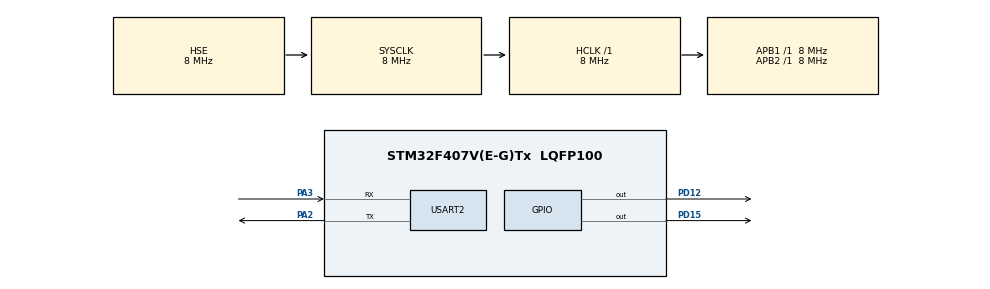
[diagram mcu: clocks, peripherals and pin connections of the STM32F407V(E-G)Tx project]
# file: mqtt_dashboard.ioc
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Dma.Request0=USART2_RX
Dma.Request1=USART2_TX
Dma.USART2_RX.0.Direction=DMA_PERIPH_TO_MEMORY
Dma.USART2_RX.0.FIFOMode=DMA_FIFOMODE_DISABLE
Dma.USART2_RX.0.Instance=DMA1_Stream5
Dma.USART2_RX.0.MemDataAlignment=DMA_MDATAALIGN_BYTE
Dma.USART2_RX.0.MemInc=DMA_MINC_ENABLE
Dma.USART2_RX.0.Mode=DMA_CIRCULAR
Dma.USART2_RX.0.PeriphDataAlignment=DMA_PDATAALIGN_BYTE
Dma.USART2_RX.0.PeriphInc=DMA_PINC_DISABLE
Dma.USART2_RX.0.Priority=DMA_PRIORITY_LOW
Dma.USART2_TX.1.Direction=DMA_MEMORY_TO_PERIPH
Dma.USART2_TX.1.FIFOMode=DMA_FIFOMODE_DISABLE
Dma.USART2_TX.1.Instance=DMA1_Stream6
Dma.USART2_TX.1.MemDataAlignment=DMA_MDATAALIGN_BYTE
Dma.USART2_TX.1.MemInc=DMA_MINC_ENABLE
Dma.USART2_TX.1.Mode=DMA_NORMAL
Dma.USART2_TX.1.PeriphDataAlignment=DMA_PDATAALIGN_BYTE
Dma.USART2_TX.1.PeriphInc=DMA_PINC_DISABLE
Dma.USART2_TX.1.Priority=DMA_PRIORITY_LOW
Mcu.Family=STM32F4
Mcu.Name=STM32F407V(E-G)Tx
Mcu.Package=LQFP100
NVIC.DMA1_Stream5_IRQn=true\:0\:0\:false\:false\:true\:false\:true\:true
NVIC.DMA1_Stream6_IRQn=true\:0\:0\:false\:false\:true\:false\:true\:true
NVIC.PriorityGroup=NVIC_PRIORITYGROUP_4
NVIC.USART2_IRQn=true\:0\:0\:false\:false\:true\:true\:true\:true
PA2.Mode=Asynchronous
PA2.Signal=USART2_TX
PA3.Mode=Asynchronous
PA3.Signal=USART2_RX
PD12.Signal=GPIO_Output
PD15.Signal=GPIO_Output
PH0-OSC_IN.Mode=HSE-External-Oscillator
PH0-OSC_IN.Signal=RCC_OSC_IN
PH1-OSC_OUT.Mode=HSE-External-Oscillator
PH1-OSC_OUT.Signal=RCC_OSC_OUT
ProjectManager.HeapSize=0x200
ProjectManager.StackSize=0x400
ProjectManager.TargetToolchain=STM32CubeIDE
RCC.AHBFreq_Value=8000000
RCC.APB1Freq_Value=8000000
RCC.APB1TimFreq_Value=8000000
RCC.APB2Freq_Value=8000000
RCC.APB2TimFreq_Value=8000000
RCC.CortexFreq_Value=8000000
RCC.HCLKFreq_Value=8000000
RCC.HSE_VALUE=8000000
RCC.HSI_VALUE=16000000
RCC.LSE_VALUE=32768
RCC.SYSCLKFreq_VALUE=8000000
RCC.SYSCLKSource=RCC_SYSCLKSOURCE_HSE
RCC.VCOOutputFreq_Value=192000000
USART2.VirtualMode=VM_ASYNC
board=custom

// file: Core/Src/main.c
/* USER CODE BEGIN Header */
/**
  ******************************************************************************
  * @file           : main.c
  * @brief          : Main program body
  ******************************************************************************
  * @attention
  *
  * Copyright (c) 2025 STMicroelectronics.
  * All rights reserved.
  *
  * This software is licensed under terms that can be found in the LICENSE file
  * in the root directory of this software component.
  * If no LICENSE file comes with this software, it is provided AS-IS.
  *
  ******************************************************************************
  */
/* USER CODE END Header */
#include "main.h"

/* USER CODE BEGIN Includes */
#include "esp8266.h"
#include <string.h>
#include <stdio.h>
/* USER CODE END Includes */

/* USER CODE BEGIN PD */
/* WiFi Configuration */
#define WIFI_SSID                   "Your_WiFi_Network"
#define WIFI_PASSWORD               "Your_WiFi_Password"

/* MQTT Configuration */
#define MQTT_BROKER_IP              "192.168.1.XXX"
#define MQTT_BROKER_PORT            1883
#define MQTT_CLIENT_ID              "STM32_LED_Controller"
#define MQTT_TOPIC_LED_CONTROL      "led/control"
#define MQTT_TOPIC_LED_STATUS       "led/status"
#define MQTT_TOPIC_STATUS_REQUEST   "led/status_request"
/* USER CODE END PD */

UART_HandleTypeDef huart2;
DMA_HandleTypeDef hdma_usart2_rx;
DMA_HandleTypeDef hdma_usart2_tx;

/* USER CODE BEGIN PV */
static bool led_state = false;
static char status_message[50];
static bool status_update_pending = false;  // Flag for deferred status updates
/* USER CODE END PV */

void SystemClock_Config(void);
static void MX_GPIO_Init(void);
static void MX_DMA_Init(void);
static void MX_USART2_UART_Init(void);
/* USER CODE BEGIN PFP */
void LED_Control(bool state);
void ESP8266_OnMQTTMessageReceived(const char* topic, const char* message);
/* USER CODE END PFP */

int main(void)
{

  /* MCU Configuration--------------------------------------------------------*/

  /* Reset of all peripherals, Initializes the Flash interface and the Systick. */
  HAL_Init();

  /* Configure the system clock */
  SystemClock_Config();

  /* Initialize all configured peripherals */
  MX_GPIO_Init();
  MX_DMA_Init();
  MX_USART2_UART_Init();
  /* USER CODE BEGIN 2 */

  // Initialize LED to OFF state
  LED_Control(false);

  // Initialize ESP8266 WiFi module with UART2
  if (ESP8266_Init(&huart2) == ESP8266_OK) {
    // Connect to WiFi
    if (ESP8266_ConnectWiFi(WIFI_SSID, WIFI_PASSWORD) == ESP8266_OK) {        // Connect to MQTT broker
        if (ESP8266_ConnectMQTT(MQTT_BROKER_IP, MQTT_BROKER_PORT, MQTT_CLIENT_ID) == ESP8266_OK) {
          // Subscribe to LED control topic
          ESP8266_SubscribeMQTT(MQTT_TOPIC_LED_CONTROL);

          // Subscribe to status request topic (optional enhancement)
          ESP8266_SubscribeMQTT(MQTT_TOPIC_STATUS_REQUEST);

          // Publish initial status (LED starts OFF)
          snprintf(status_message, sizeof(status_message), "STM32 Connected - LED: %s", led_state ? "ON" : "OFF");
          ESP8266_PublishMQTT(MQTT_TOPIC_LED_STATUS, status_message);
        }
    }
  }

  /* USER CODE END 2 */

  /* Infinite loop */
  while (1)
  {

    /* USER CODE BEGIN 3 */
    // Process DMA data from ESP8266
    ESP8266_ProcessDMAData();

    // Handle deferred status updates (avoid sending from interrupt context)
    if (status_update_pending) {
      status_update_pending = false;
      snprintf(status_message, sizeof(status_message), "LED: %s", led_state ? "ON" : "OFF");
      ESP8266_PublishMQTT(MQTT_TOPIC_LED_STATUS, status_message);
    }
  }
  /* USER CODE END 3 */
}

void SystemClock_Config(void)
{
  RCC_OscInitTypeDef RCC_OscInitStruct = {0};
  RCC_ClkInitTypeDef RCC_ClkInitStruct = {0};

  /** Configure the main internal regulator output voltage
  */
  __HAL_RCC_PWR_CLK_ENABLE();
  __HAL_PWR_VOLTAGESCALING_CONFIG(PWR_REGULATOR_VOLTAGE_SCALE1);

  /** Initializes the RCC Oscillators according to the specified parameters
  * in the RCC_OscInitTypeDef structure.
  */
  RCC_OscInitStruct.OscillatorType = RCC_OSCILLATORTYPE_HSE;
  RCC_OscInitStruct.HSEState = RCC_HSE_ON;
  RCC_OscInitStruct.PLL.PLLState = RCC_PLL_NONE;
  if (HAL_RCC_OscConfig(&RCC_OscInitStruct) != HAL_OK)
  {
    Error_Handler();
  }

  /** Initializes the CPU, AHB and APB buses clocks
  */
  RCC_ClkInitStruct.ClockType = RCC_CLOCKTYPE_HCLK|RCC_CLOCKTYPE_SYSCLK
                              |RCC_CLOCKTYPE_PCLK1|RCC_CLOCKTYPE_PCLK2;
  RCC_ClkInitStruct.SYSCLKSource = RCC_SYSCLKSOURCE_HSE;
  RCC_ClkInitStruct.AHBCLKDivider = RCC_SYSCLK_DIV1;
  RCC_ClkInitStruct.APB1CLKDivider = RCC_HCLK_DIV1;
  RCC_ClkInitStruct.APB2CLKDivider = RCC_HCLK_DIV1;

  if (HAL_RCC_ClockConfig(&RCC_ClkInitStruct, FLASH_LATENCY_0) != HAL_OK)
  {
    Error_Handler();
  }
}

static void MX_USART2_UART_Init(void)
{

  huart2.Instance = USART2;
  huart2.Init.BaudRate = 115200;
  huart2.Init.WordLength = UART_WORDLENGTH_8B;
  huart2.Init.StopBits = UART_STOPBITS_1;
  huart2.Init.Parity = UART_PARITY_NONE;
  huart2.Init.Mode = UART_MODE_TX_RX;
  huart2.Init.HwFlowCtl = UART_HWCONTROL_NONE;
  huart2.Init.OverSampling = UART_OVERSAMPLING_16;
  if (HAL_UART_Init(&huart2) != HAL_OK)
  {
    Error_Handler();
  }

}

static void MX_DMA_Init(void)
{

  /* DMA controller clock enable */
  __HAL_RCC_DMA1_CLK_ENABLE();

  /* DMA interrupt init */
  /* DMA1_Stream5_IRQn interrupt configuration */
  HAL_NVIC_SetPriority(DMA1_Stream5_IRQn, 0, 0);
  HAL_NVIC_EnableIRQ(DMA1_Stream5_IRQn);
  /* DMA1_Stream6_IRQn interrupt configuration */
  HAL_NVIC_SetPriority(DMA1_Stream6_IRQn, 0, 0);
  HAL_NVIC_EnableIRQ(DMA1_Stream6_IRQn);

}

static void MX_GPIO_Init(void)
{
  GPIO_InitTypeDef GPIO_InitStruct = {0};

  /* GPIO Ports Clock Enable */
  __HAL_RCC_GPIOH_CLK_ENABLE();
  __HAL_RCC_GPIOA_CLK_ENABLE();
  __HAL_RCC_GPIOD_CLK_ENABLE();

  /*Configure GPIO pin Output Level */
  HAL_GPIO_WritePin(GPIOD, GPIO_PIN_12|GPIO_PIN_15, GPIO_PIN_RESET);

  /*Configure GPIO pins : PD12 PD15 */
  GPIO_InitStruct.Pin = GPIO_PIN_12|GPIO_PIN_15;
  GPIO_InitStruct.Mode = GPIO_MODE_OUTPUT_PP;
  GPIO_InitStruct.Pull = GPIO_NOPULL;
  GPIO_InitStruct.Speed = GPIO_SPEED_FREQ_LOW;
  HAL_GPIO_Init(GPIOD, &GPIO_InitStruct);

}

/* USER CODE BEGIN 4 */

/**
  * @brief  Control LED state
  * @param  state: true to turn on, false to turn off
  * @retval None
  */
void LED_Control(bool state)
{
    led_state = state;

    if (state) {
        HAL_GPIO_WritePin(GPIOD, GPIO_PIN_15, GPIO_PIN_SET);
    } else {
        HAL_GPIO_WritePin(GPIOD, GPIO_PIN_15, GPIO_PIN_RESET);
    }

    // Set flag for deferred status update (avoid sending from interrupt context)
    status_update_pending = true;
}

/**
  * @brief  MQTT message received callback
  * @param  topic: MQTT topic
  * @param  message: MQTT message
  * @retval None
  */
void ESP8266_OnMQTTMessageReceived(const char* topic, const char* message)
{
    if (strcmp(topic, MQTT_TOPIC_LED_CONTROL) == 0) {
        // Handle both uppercase and lowercase commands
        if (strcmp(message, "ON") == 0 || strcmp(message, "on") == 0 ||
            strcmp(message, "1") == 0) {

            LED_Control(true);
        } else if (strcmp(message, "OFF") == 0 || strcmp(message, "off") == 0 ||
                   strcmp(message, "0") == 0) {

            LED_Control(false);
        }
    } else if (strcmp(topic, MQTT_TOPIC_STATUS_REQUEST) == 0) {
        // Handle status request - immediately publish current status
        status_update_pending = true;
    }
}

/* USER CODE END 4 */

void Error_Handler(void)
{
  __disable_irq();
  while (1)
  {
  }
}
